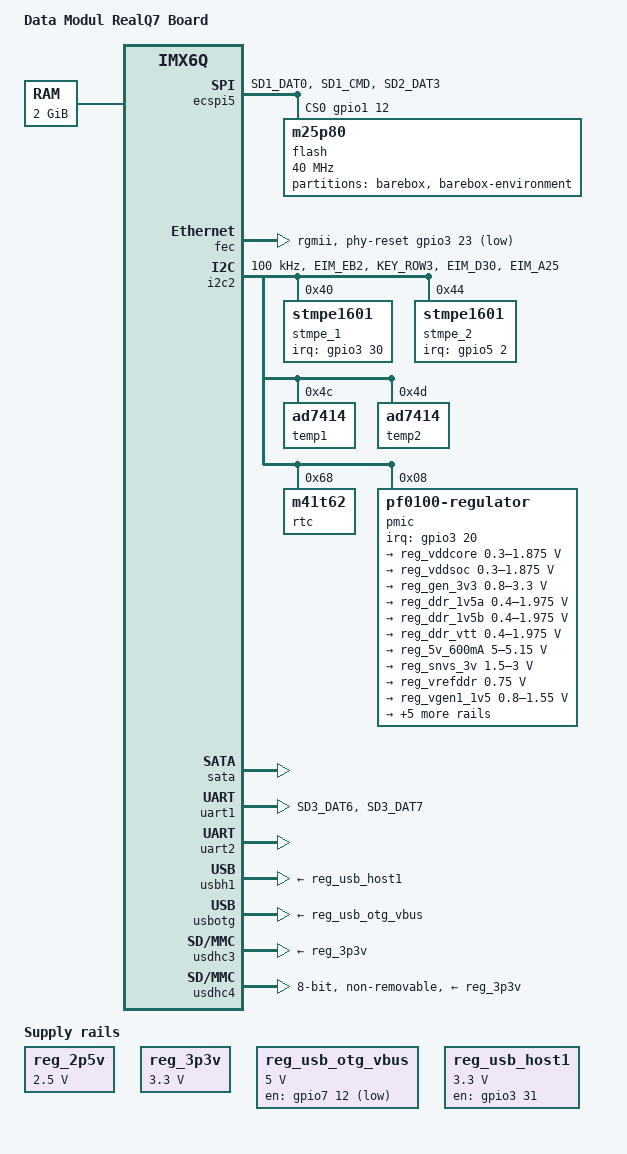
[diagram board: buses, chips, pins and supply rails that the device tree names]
/*
 * Copyright 2011 Freescale Semiconductor, Inc.
 * Copyright 2011 Linaro Ltd.
 *
 * The code contained herein is licensed under the GNU General Public
 * License. You may obtain a copy of the GNU General Public License
 * Version 2 or later at the following locations:
 *
 * http://www.opensource.org/licenses/gpl-license.html
 * http://www.gnu.org/copyleft/gpl.html
 */
/dts-v1/;

#include "imx6q.dtsi"

/ {
	model = "Data Modul RealQ7 Board";
	compatible = "dmo,imx6q-realq7", "fsl,imx6q";

	chosen {
		linux,stdout-path = "/soc/aips-bus@02100000/serial@021e8000";

		environment-emmc {
			compatible = "barebox,environment";
			device-path = &usdhc4, "partname:barebox-environment";
			status = "disabled";
		};

		environment-spi {
			compatible = "barebox,environment";
			device-path = &flash, "partname:barebox-environment";
			status = "disabled";
		};
	};

	aliases {
		stmpe0 = &stmpe_1;
		stmpe1 = &stmpe_2;
		gpio7 = &stmpe_gpio_1;
		gpio8 = &stmpe_gpio_2;
	};

	memory {
		reg = <0x10000000 0x80000000>;
	};

	di0 {
		compatible = "fsl,imx-parallel-display";
		interface-pix-fmt = "rgb24";
		crtcs = <&ipu1 0>;
	};

	regulators {
		compatible = "simple-bus";

		reg_2p5v: 2p5v {
			compatible = "regulator-fixed";
			regulator-name = "2P5V";
			regulator-min-microvolt = <2500000>;
			regulator-max-microvolt = <2500000>;
			regulator-always-on;
		};

		reg_3p3v: 3p3v {
			compatible = "regulator-fixed";
			regulator-name = "3P3V";
			regulator-min-microvolt = <3300000>;
			regulator-max-microvolt = <3300000>;
			regulator-always-on;
		};

		reg_usb_otg_vbus: usb_otg_vbus {
			compatible = "regulator-fixed";
			regulator-name = "usb_otg_vbus";
			regulator-min-microvolt = <5000000>;
			regulator-max-microvolt = <5000000>;
			gpio = <&gpio7 12 0>;
		};

		reg_usb_host1: usb_host1_en {
			compatible = "regulator-fixed";
			regulator-name = "usb_host1_en";
			regulator-min-microvolt = <3300000>;
			regulator-max-microvolt = <3300000>;
			gpio = <&gpio3 31 0>;
			enable-active-high;
		};
	};
};

&ecspi5 {
	pinctrl-names = "default";
	pinctrl-0 = <&pinctrl_ecspi_5_1>;
	fsl,spi-num-chipselects = <1>;
	cs-gpios = <&gpio1 12 0>;
	status = "okay";

	flash: m25p80@0 {
		compatible = "m25p80";
		spi-max-frequency = <40000000>;
		reg = <0>;
		#address-cells = <1>;
		#size-cells = <1>;

		partition@0 {
			label = "barebox";
			reg = <0x0 0x80000>;
		};

		partition@1 {
			label = "barebox-environment";
			reg = <0x80000 0x20000>;
		};
	};
};

&fec {
	pinctrl-names = "default";
	pinctrl-0 = <&pinctrl_enet_1>;
	phy-mode = "rgmii";
	phy-reset-gpios = <&gpio3 23 0>;
	status = "okay";
};

&i2c2 {
	status = "okay";
	clock-frequency = <100000>;
	pinctrl-names = "default";
	pinctrl-0 = <&pinctrl_i2c2
		     &pinctrl_stmpe_1_1
		     &pinctrl_stmpe_2_1>;

	stmpe_1: stmpe1601@40 {
		compatible = "stmpe1601";
		reg = <0x40>;
		interrupts = <30 0>;
		interrupt-parent = <&gpio3>;
		stmpe_gpio_1: stmpe_gpio {
			compatible = "st,stmpe-gpio";
		};
	};

	stmpe_2: stmpe1601@44 {
		compatible = "stmpe1601";
		reg = <0x44>;
		interrupts = <2 0>;
		interrupt-parent = <&gpio5>;
		stmpe_gpio_2: stmpe_gpio {
			compatible = "st,stmpe-gpio";
		};
	};

	temp1: ad7414@4c {
		compatible = "ad7414";
		reg = <0x4c>;
	};

	temp2: ad7414@4d {
		compatible = "ad7414";
		reg = <0x4d>;
	};

	rtc: m41t62@68 {
		compatible = "m41t62";
		reg = <0x68>;
	};

	pmic: pf0100@08 {
		compatible = "pf0100-regulator";
		reg = <0x08>;
		interrupt-parent = <&gpio3>;
		interrupts = <20 8>;

		regulators {
			reg_vddcore: sw1ab {
				regulator-min-microvolt = <300000>;
				regulator-max-microvolt = <1875000>;
				regulator-always-on;
			};

			reg_vddsoc: sw1c {
				regulator-min-microvolt = <300000>;
				regulator-max-microvolt = <1875000>;
				regulator-always-on;
			};

			reg_gen_3v3: sw2 {
				regulator-min-microvolt = <800000>;
				regulator-max-microvolt = <3300000>;
				regulator-always-on;
			};

			reg_ddr_1v5a: sw3a {
				regulator-min-microvolt = <400000>;
				regulator-max-microvolt = <1975000>;
				regulator-always-on;
			};

			reg_ddr_1v5b: sw3b {
				regulator-min-microvolt = <400000>;
				regulator-max-microvolt = <1975000>;
				regulator-always-on;
			};

			reg_ddr_vtt: sw4 {
				regulator-min-microvolt = <400000>;
				regulator-max-microvolt = <1975000>;
				regulator-always-on;
			};

			reg_5v_600mA: swbst {
				regulator-min-microvolt = <5000000>;
				regulator-max-microvolt = <5150000>;
				regulator-always-on;
			};

			reg_snvs_3v: vsnvs {
				regulator-min-microvolt = <1500000>;
				regulator-max-microvolt = <3000000>;
				regulator-always-on;
			};

			reg_vrefddr: vrefddr {
				regulator-min-microvolt = <750000>;
				regulator-max-microvolt = <750000>;
				regulator-always-on;
			};

			reg_vgen1_1v5: vgen1 {
				regulator-min-microvolt = <800000>;
				regulator-max-microvolt = <1550000>;
				/* not used */
			};

			reg_vgen2_1v2_eth: vgen2 {
				regulator-min-microvolt = <800000>;
				regulator-max-microvolt = <1550000>;
				regulator-always-on;
			};

			reg_vgen3_2v8: vgen3 {
				regulator-min-microvolt = <1800000>;
				regulator-max-microvolt = <3300000>;
				regulator-always-on;
			};

			reg_vgen4_1v8: vgen4 {
				regulator-min-microvolt = <1800000>;
				regulator-max-microvolt = <3300000>;
				regulator-always-on;
			};

			reg_vgen5_1v8_eth: vgen5 {
				regulator-min-microvolt = <1800000>;
				regulator-max-microvolt = <3300000>;
				regulator-always-on;
			};

			reg_vgen6_3v3: vgen6 {
				regulator-min-microvolt = <1800000>;
				regulator-max-microvolt = <3300000>;
				regulator-always-on;
			};
		};
	};
};

&iomuxc {
	pinctrl-names = "default";
	pinctrl-0 = <&pinctrl_hog>, <&pinctrl_pfuze_1>;

	hog {
		pinctrl_hog: hoggrp-1 {
			fsl,pins = <
				MX6QDL_PAD_EIM_A16__GPIO2_IO22 0x80000000
				MX6QDL_PAD_EIM_A17__GPIO2_IO21 0x80000000
			>;
		};
	};

	i2c2 {
		pinctrl_i2c2: i2c2grp {
			fsl,pins = <
				MX6QDL_PAD_EIM_EB2__I2C2_SCL 0x4001b8b1
				MX6QDL_PAD_KEY_ROW3__I2C2_SDA 0x4001b8b1
			>;
		};
	};

	uart {
		pinctrl_uart1_2: uart1grp-2 {
			fsl,pins = <
				MX6QDL_PAD_SD3_DAT6__UART1_RX_DATA 0x1b0b1
				MX6QDL_PAD_SD3_DAT7__UART1_TX_DATA 0x1b0b1
			>;
		};
	};

	pfuze {
		pinctrl_pfuze_1: pfuze100grp1 {
			fsl,pins = <
				MX6QDL_PAD_EIM_D20__GPIO3_IO20 0x198c0
			>;
		};
	};

	stmpe_1 {
		pinctrl_stmpe_1_1: stmpe1grp-1 {
			fsl,pins = <
				MX6QDL_PAD_EIM_D30__GPIO3_IO30 0x80000000
			>;
		};
	};

	stmpe_2 {
		pinctrl_stmpe_2_1: stmpe2grp-1 {
			fsl,pins = <
				MX6QDL_PAD_EIM_A25__GPIO5_IO02 0x80000000
			>;
		};
	};

	ecspi5 {
		pinctrl_ecspi_5_1: ecspi5rp-1 {
			fsl,pins = <
				MX6QDL_PAD_SD1_DAT0__ECSPI5_MISO 0x80000000
				MX6QDL_PAD_SD1_CMD__ECSPI5_MOSI 0x80000000
				MX6QDL_PAD_SD2_DAT3__GPIO1_IO12 0x80000000 /* cs0: m25p80 */
			>;
		};
	};
};

&sata {
	status = "okay";
};

&uart1 {
	pinctrl-names = "default";
	pinctrl-0 = <&pinctrl_uart1_2>;
	status = "okay";
};

&uart2 {
	status = "okay";
	pinctrl-names = "default";
	pinctrl-0 = <&pinctrl_uart2_1>;
};

&usbh1 {
	vbus-supply = <&reg_usb_host1>;
	status = "okay";
	disable-over-current;
};

&usbotg {
	vbus-supply = <&reg_usb_otg_vbus>;
	pinctrl-names = "default";
	pinctrl-0 = <&pinctrl_usbotg_1>;
	disable-over-current;
	status = "okay";
};

&usdhc3 {
	pinctrl-names = "default";
	pinctrl-0 = <&pinctrl_usdhc3_2>;
	vmmc-supply = <&reg_3p3v>;
	status = "okay";
};

&usdhc4 {
	pinctrl-names = "default";
	pinctrl-0 = <&pinctrl_usdhc4_1>;
	vmmc-supply = <&reg_3p3v>;
	non-removable;
	bus-width = <8>;
	status = "okay";
	#address-cells = <1>;
	#size-cells = <1>;

	partition@0 {
		label = "barebox-environment";
		reg = <0x0 0x80000>;
	};
};
